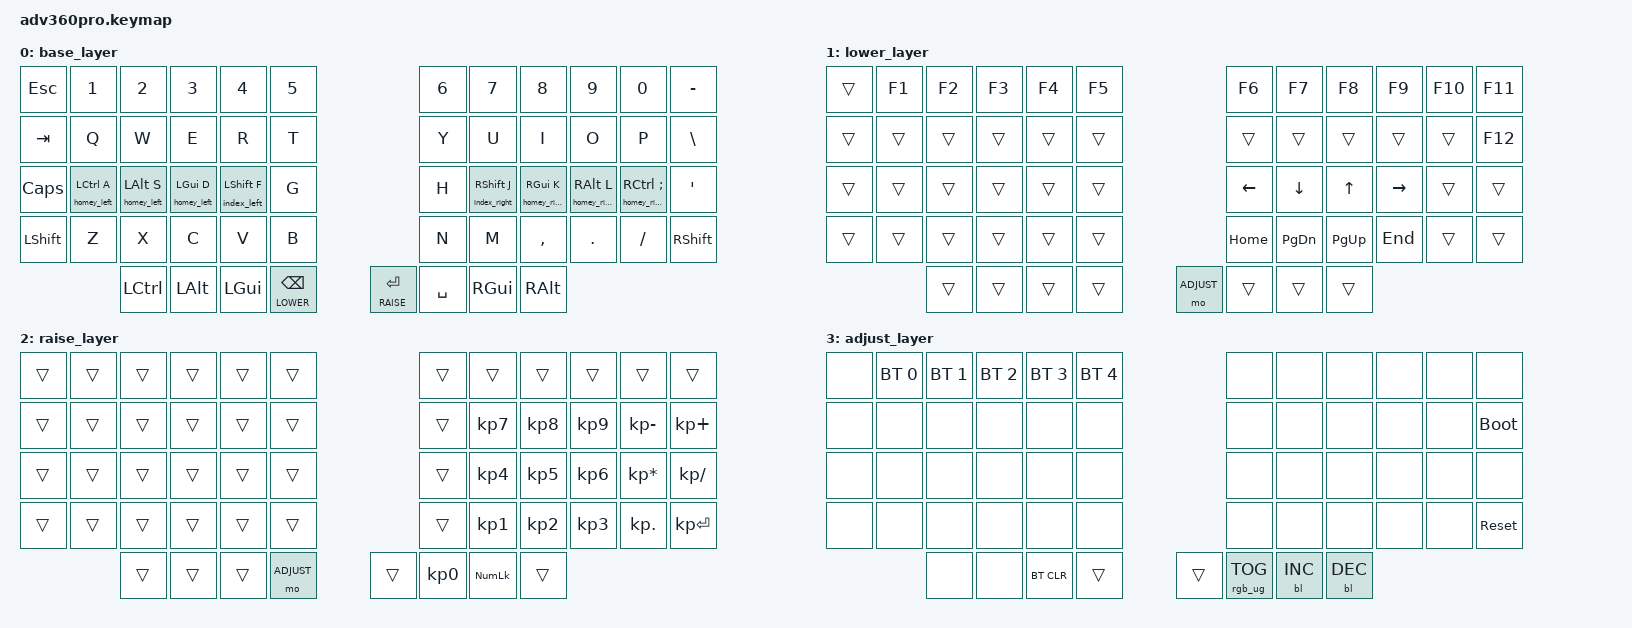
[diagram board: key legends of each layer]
/*
 * Copyright (c) 2020 The ZMK Contributors
 *
 * SPDX-License-Identifier: MIT
 */

#include <behaviors.dtsi>
#include <dt-bindings/zmk/keys.h>
#include <dt-bindings/zmk/bt.h>
#include <dt-bindings/zmk/rgb.h>
#include <dt-bindings/zmk/backlight.h>
#include <dt-bindings/zmk/outputs.h>

/* Include the shared configuration */
#include "../../includes/behaviors.dtsi"
#include "../../includes/layers.dtsi"

/* Include ADV360-specific behaviors */
#include "adv360pro_behaviors.dtsi"

/ {
    keymap {
        compatible = "zmk,keymap";

        base_layer {
            bindings = <
                &kp ESC   &kp N1    &kp N2    &kp N3     &kp N4    &kp N5                           &kp N6     &kp N7     &kp N8     &kp N9    &kp N0    &kp MINUS
                &kp TAB   &kp Q     &kp W     &kp E      &kp R     &kp T                            &kp Y      &kp U      &kp I      &kp O     &kp P     &kp BSLH
                &kp CAPS  &homey_left LCTRL A  &homey_left LALT S  &homey_left LGUI D  &index_left LSHFT F  &kp G     &kp H      &index_right RSHFT J  &homey_right RGUI K  &homey_right RALT L  &homey_right RCTRL SEMI  &kp SQT
                &kp LSHFT &kp Z     &kp X     &kp C      &kp V     &kp B                            &kp N      &kp M      &kp COMMA  &kp DOT   &kp FSLH  &kp RSHFT
                                    &kp LCTRL  &kp LALT   &kp LGUI  &lt LOWER BSPC     &lt RAISE RET  &kp SPACE  &kp RGUI   &kp RALT
            >;
        };

        lower_layer {
            bindings = <
                &trans    &kp F1    &kp F2    &kp F3     &kp F4    &kp F5                           &kp F6     &kp F7     &kp F8     &kp F9    &kp F10   &kp F11
                &trans    &trans    &trans    &trans     &trans    &trans                           &trans     &trans     &trans     &trans    &trans    &kp F12
                &trans    &trans    &trans    &trans     &trans    &trans                           &kp LEFT   &kp DOWN   &kp UP     &kp RIGHT &trans    &trans
                &trans    &trans    &trans    &trans     &trans    &trans                           &kp HOME   &kp PG_DN  &kp PG_UP  &kp END   &trans    &trans
                                   &trans     &trans     &trans    &trans                &mo ADJUST  &trans     &trans     &trans
            >;
        };

        raise_layer {
            bindings = <
                &trans    &trans    &trans    &trans     &trans    &trans                           &trans     &trans     &trans     &trans    &trans    &trans
                &trans    &trans    &trans    &trans     &trans    &trans                           &trans     &kp KP_N7  &kp KP_N8  &kp KP_N9 &kp KP_MINUS &kp KP_PLUS
                &trans    &trans    &trans    &trans     &trans    &trans                           &trans     &kp KP_N4  &kp KP_N5  &kp KP_N6 &kp KP_MULTIPLY &kp KP_DIVIDE
                &trans    &trans    &trans    &trans     &trans    &trans                           &trans     &kp KP_N1  &kp KP_N2  &kp KP_N3 &kp KP_DOT &kp KP_ENTER
                                   &trans     &trans     &trans    &mo ADJUST           &trans      &kp KP_N0  &kp KP_NUM &trans
            >;
        };

        adjust_layer {
            bindings = <
                &none     &bt BT_SEL 0 &bt BT_SEL 1 &bt BT_SEL 2  &bt BT_SEL 3 &bt BT_SEL 4                    &none      &none      &none      &none     &none     &none
                &none     &none        &none        &none         &none        &none                           &none      &none      &none      &none     &none     &bootloader
                &none     &none        &none        &none         &none        &none                           &none      &none      &none      &none     &none     &none
                &none     &none        &none        &none         &none        &none                           &none      &none      &none      &none     &none     &sys_reset
                                      &none         &none         &bt BT_CLR   &trans                &trans     &rgb_ug RGB_TOG &bl BL_INC &bl BL_DEC
            >;
        };
    };
};
